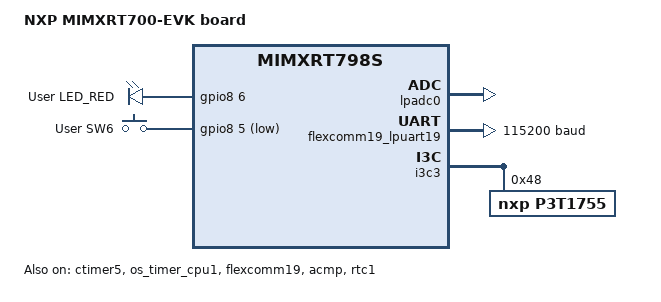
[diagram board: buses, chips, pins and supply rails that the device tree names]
/*
 * Copyright 2024-2025 NXP
 *
 * SPDX-License-Identifier: Apache-2.0
 */

/dts-v1/;

#include <nxp/nxp_rt7xx_cm33_cpu1.dtsi>
#include <zephyr/dt-bindings/input/input-event-codes.h>
#include "mimxrt700_evk-pinctrl.dtsi"
#include <freq.h>

/ {
	model = "NXP MIMXRT700-EVK board";
	compatible = "nxp,mimxrt798s";

	aliases {
		led0 = &red_led;
		sw0 = &user_button_1;
		ambient-temp0 = &p3t1755;
		rtc = &rtc1;
	};

	chosen {
		zephyr,flash = &sram_code;
		zephyr,sram = &sram3;
		zephyr,console = &flexcomm19_lpuart19;
		zephyr,shell-uart = &flexcomm19_lpuart19;
	};

	leds {
		compatible = "gpio-leds";

		red_led: led_0 {
			status = "okay";
			gpios = <&gpio8 6 GPIO_ACTIVE_HIGH>;
			label = "User LED_RED";
		};
	};

	gpio_keys {
		compatible = "gpio-keys";

		user_button_1: button_0 {
			label = "User SW6";
			gpios = <&gpio8 5 GPIO_ACTIVE_LOW>;
			zephyr,code = <INPUT_KEY_0>;
			status = "okay";
		};
	};
};

&ctimer5 {
	status = "okay";
};

&lpadc0 {
	status = "okay";
	pinctrl-0 = <&pinmux_lpadc0>;
	pinctrl-names = "default";
};

/*
 * RT700-EVK board cm33_cpu1 uses OS timer as the kernel timer
 * In case we need to switch to SYSTICK timer, then
 * replace &os_timer with &systick
 */
&os_timer_cpu1 {
	status = "okay";
	wakeup-source;
};

&flexcomm19 {
	status = "okay";
};

&flexcomm19_lpuart19 {
	status = "okay";
	current-speed = <115200>;
	pinctrl-0 = <&pinmux_flexcomm19_lpuart>;
	pinctrl-names = "default";
};

&gpio8 {
	status = "okay";
};

&i3c3 {
	status = "okay";
	pinctrl-0 = <&pinmux_i3c3>;
	pinctrl-names = "default";
	i2c-scl-hz = <DT_FREQ_K(400)>;
	i3c-scl-hz = <DT_FREQ_M(4)>;
	i3c-od-scl-hz = <DT_FREQ_K(1500)>;

	p3t1755: p3t1755@4800000236152a0090 {
		compatible = "nxp,p3t1755";
		reg = <0x48 0x0236 0x152a0090>;
		status = "okay";
	};
};

&acmp {
	status = "okay";
	pinctrl-0 = <&pinmux_acmp>;
	pinctrl-names = "default";
};

&rtc1 {
	status = "okay";
};

&mbox1_b {
	status = "okay";
};
